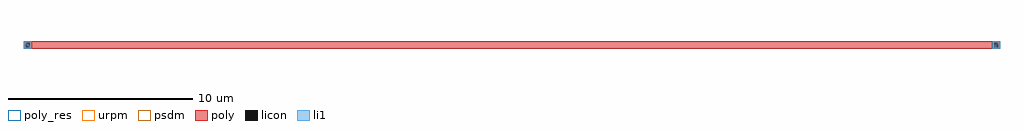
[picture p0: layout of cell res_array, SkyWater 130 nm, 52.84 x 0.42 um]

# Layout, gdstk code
import gdstk
lib = gdstk.Library(unit=1e-6, precision=1e-09)
def R(c, l, rs):  # rectangles x0, y0, x1, y1
    for r in rs: c.add(gdstk.rectangle(r[:2], r[2:], *l))
poly_res = (66, 13)
poly = (66, 20)
licon = (66, 44)
li1 = (67, 20)
urpm = (79, 20)
psdm = (94, 20)

res_array = lib.new_cell('res_array')
R(res_array, poly_res, [(0.42,0,52.42,0.42)])
R(res_array, poly, [(0,0,52.84,0.42)])
R(res_array, licon, [(0.1,0.1,0.32,0.32), (52.52,0.1,52.74,0.32)])
R(res_array, li1, [(0,0,0.42,0.42), (52.42,0,52.84,0.42)])
R(res_array, urpm, [(0.42,0,52.42,0.42)])
R(res_array, psdm, [(0.42,0,52.42,0.42)])

lib.write_gds('res_array.gds')
